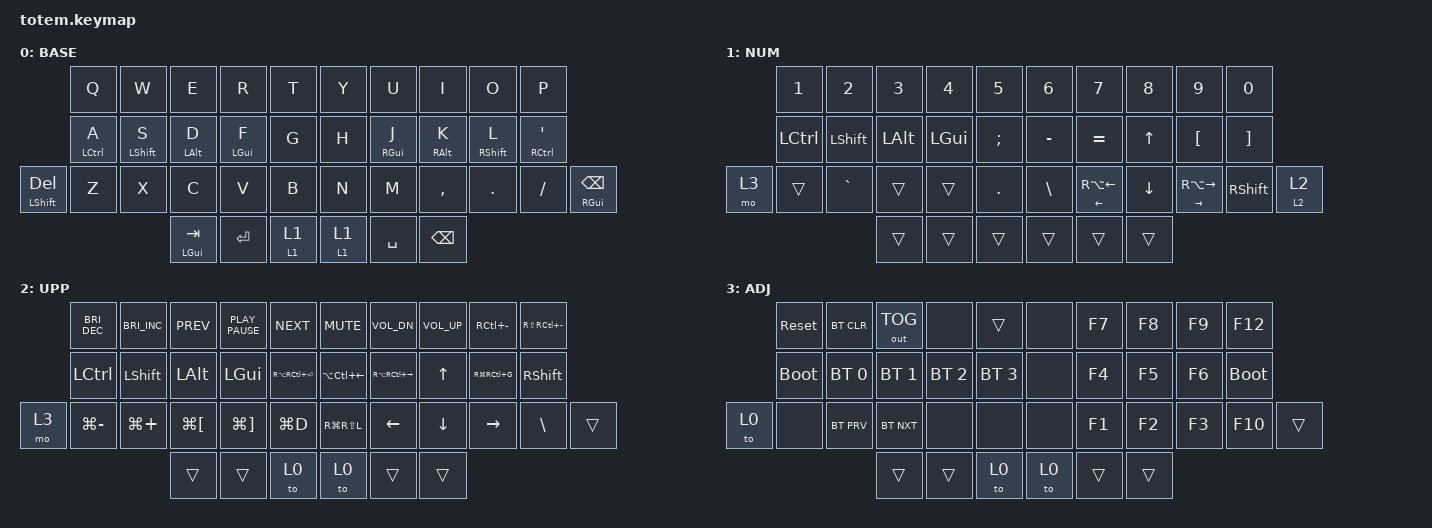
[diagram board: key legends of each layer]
//
//                                                        ▀▀▀▀▀     ▀▀▀▀▀          ▀▀█▀▀
//                                                        ▄▀▀▀▄  ▄  ▄▀▀▀▄  ▄  ▄▀▀▀▄  █  ▄▀▀▀▄
//                                                        █   █  █  █   █  █  █   █  █  █   █
//                                                         ▀▀▀   █   ▀▀▀   █   ▀▀▀   ▀   ▀▀▀
//                                                               █      ▄▄▄█▄▄▄    █   █  
//                                                               ▀      █  █  █     █▄█
//                                                             ▀▀▀▀▀    █  █  █      ▀
//                                                                      ▀  ▀  ▀
//
// ▄▄▄▄▄▄▄▄▄▄▄▄▄▄▄▄▄▄▄▄▄▄▄▄▄▄▄▄▄▄▄▄▄▄▄▄▄▄▄▄▄▄▄▄▄▄▄▄▄▄▄▄▄▄▄▄▄▄▄▄▄▄▄▄▄▄▄▄▄▄▄▄▄▄▄▄▄▄▄▄▄▄▄▄▄▄▄▄▄▄▄▄▄▄▄▄▄▄▄▄▄▄▄▄▄▄▄▄▄▄▄▄▄▄▄▄▄▄▄▄▄▄▄▄▄▄▄▄▄▄▄▄▄▄▄▄▄▄▄▄▄▄▄▄▄▄▄▄▄

#include <behaviors.dtsi>
#include <dt-bindings/zmk/bt.h>
#include <dt-bindings/zmk/keys.h>
#include <dt-bindings/zmk/outputs.h>

#define BASE 0
#define NAV  1
#define SYM  2
#define ADJ  3
#define TVP1 4
#define TVP2 5

&mt {
    quick-tap-ms = <100>;
    global-quick-tap;
    flavor = "tap-preferred";
    tapping-term-ms = <170>;
};

/ {
    combos {
        compatible = "zmk,combos";

        right_esc {
            timeout-ms = <50>;
            key-positions = <0 1>;
            bindings = <&kp ESC>;
        };

        combo_base {
            timeout-ms = <100>;
            key-positions = <22 23 24>;
            bindings = <&to 0>;
            layers = <1 2 3>;
        };

        spotlight_left {
            bindings = <&kp LG(SPACE)>;
            key-positions = <1 2 3>;
        };

        spotlight_right {
            bindings = <&kp LG(SPACE)>;
            key-positions = <6 7 8>;
        };

        copy {
            bindings = <&kp LG(C)>;
            key-positions = <23 24 33>;
        };

        paste {
            bindings = <&kp LG(V)>;
            key-positions = <25 24>;
        };

        lock_screen {
            bindings = <&kp LC(LG(Q))>;
            key-positions = <3 4 5 6>;
        };

        undo {
            bindings = <&kp LG(Z)>;
            key-positions = <21 22>;
        };

        redo {
            bindings = <&kp LG(Y)>;
            key-positions = <22 23>;
        };

        left_esc {
            bindings = <&kp ESC>;
            key-positions = <8 9>;
            timeout-ms = <50>;
        };
    };

    macros {
        gif: gif {
            label = "giphy";
            compatible = "zmk,behavior-macro";
            #binding-cells = <0>;
            bindings =
                <&macro_press>,
                <&kp LSHFT>,
                <&macro_tap>,
                <&kp N2>,
                <&macro_release>,
                <&kp LSHFT>,
                <&macro_tap>,
                <&kp G &kp I &kp F>;
        };
    };

    behaviors {
        hm_l: homerow_mods_left {
            compatible = "zmk,behavior-hold-tap";
            label = "HOMEROW_MODS_L";
            bindings = <&kp>, <&kp>;

            #binding-cells = <2>;
            tapping-term-ms = <280>;
            quick-tap-ms = <175>;
            flavor = "balanced";
            require-prior-idle-ms = <150>;
            hold-trigger-on-release;
            hold-trigger-key-positions = <5 6 7 8 9 15 16 17 18 19 26 27 28 29 30 31 36 37 35 34 33 32 20>;
        };

        hm_r: homerow_mods_right {
            compatible = "zmk,behavior-hold-tap";
            label = "HOMEROW_MODS_R";
            bindings = <&kp>, <&kp>;

            #binding-cells = <2>;
            tapping-term-ms = <280>;
            quick-tap-ms = <175>;
            flavor = "balanced";
            require-prior-idle-ms = <150>;
            hold-trigger-on-release;
            hold-trigger-key-positions = <0 1 3 4 10 11 12 13 14 20 21 22 23 24 25 32 33 34 2 35 36 37 31>;
        };

        hl_l: homerow_layers_left {
            compatible = "zmk,behavior-hold-tap";
            label = "HOMEROW_LAYERS_L";
            bindings = <&mo>, <&kp>;

            #binding-cells = <2>;
            tapping-term-ms = <220>;
            quick-tap-ms = <250>;
            flavor = "tap-preferred";
        };

        hl_r: homerow_layers_right {
            compatible = "zmk,behavior-hold-tap";
            label = "HOMEROW_LAYERS_R";
            bindings = <&mo>, <&kp>;

            #binding-cells = <2>;
            tapping-term-ms = <220>;
            quick-tap-ms = <250>;
            flavor = "tap-preferred";
        };

        td_num: tapdance_num {
            compatible = "zmk,behavior-tap-dance";
            label = "TAPDANCE_NUM";
            #binding-cells = <0>;
            bindings = <&mo 1>, <&tog 1>;
        };

        td_nav: tapdance_nav {
            compatible = "zmk,behavior-tap-dance";
            label = "TAPDANCE_NAV";
            #binding-cells = <0>;
            bindings = <&mo 2>, <&tog 2>;
        };

        layer_tap_hold: layer_tap_hold {
            compatible = "zmk,behavior-hold-tap";
            label = "LAYER_TAP_HOLD";
            bindings = <&mo>, <&tog>;

            #binding-cells = <2>;
            flavor = "balanced";
            tapping-term-ms = <170>;
            quick-tap-ms = <100>;
        };

        sq_bracket: sq_bracket {
            compatible = "zmk,behavior-mod-morph";
            label = "SQ_BRACKET";
            bindings = <&kp LEFT_BRACKET>, <&kp RIGHT_BRACKET>;

            #binding-cells = <0>;
            mods = <(MOD_LSFT)>;
        };

        cur_bracket: cur_bracket {
            compatible = "zmk,behavior-mod-morph";
            label = "CUR_BRACKET";
            bindings = <&kp LEFT_BRACE>, <&kp RIGHT_BRACE>;

            #binding-cells = <0>;
            mods = <(MOD_LSFT)>;
        };
    };

    keymap {
        compatible = "zmk,keymap";

        // ▄▄▄▄▄▄▄▄▄▄▄▄▄▄▄▄▄▄▄▄▄▄▄▄▄▄▄▄▄▄▄▄▄▄▄▄▄▄▄▄▄▄▄▄▄▄▄▄▄▄▄▄▄▄▄▄▄▄▄▄▄▄▄▄▄▄▄▄▄▄▄▄▄▄▄▄▄▄▄▄▄▄▄▄▄▄▄▄▄▄▄▄▄▄▄▄▄▄▄▄▄▄▄▄▄▄▄▄▄▄▄▄▄▄▄▄▄▄▄▄▄▄▄▄▄▄▄▄▄▄▄▄▄▄▄▄▄▄▄▄▄▄▄▄▄▄▄▄▄

        base_layer {
            // ┏━━━━━━━━━━━━━━━━━━━━━━━━━━━━━━━━━━━━━━━┓

            label = "BASE";

            // ┗━━━━━━━━━━━━━━━━━━━━━━━━━━━━━━━━━━━━━━━┛
            //             ┏━━━━━━━━━━━┳━━━━━━━━━━━┳━━━━━━━━━━━┳━━━━━━━━━━━┳━━━━━━━━━━━┓   ┏━━━━━━━━━━━┳━━━━━━━━━━━┳━━━━━━━━━━━┳━━━━━━━━━━━┳━━━━━━━━━━━┓
            //             ┃     Q     ┃     W     ┃     F     ┃     P     ┃     G     ┃   ┃     J     ┃     L     ┃     U     ┃     Y     ┃     ;     ┃
            //             ┣━━━━━━━━━━━╋━━━━━━━━━━━╋━━━━━━━━━━━╋━━━━━━━━━━━╋━━━━━━━━━━━┫   ┣━━━━━━━━━━━╋━━━━━━━━━━━╋━━━━━━━━━━━╋━━━━━━━━━━━╋━━━━━━━━━━━┫
            //             ┃     A     ┃     R     ┃     S     ┃     T     ┃     D     ┃   ┃     H     ┃     N     ┃     E     ┃     I     ┃     O     ┃
            // ┏━━━━━━━━━━━╋━━━━━━━━━━━╋━━━━━━━━━━━╋━━━━━━━━━━━╋━━━━━━━━━━━╋━━━━━━━━━━━┫   ┣━━━━━━━━━━━╋━━━━━━━━━━━╋━━━━━━━━━━━╋━━━━━━━━━━━╋━━━━━━━━━━━╋━━━━━━━━━━━┓
            // ┃     Q     ┃     Z     ┃     X     ┃     C     ┃     V     ┃     B     ┃   ┃     K     ┃     M     ┃     ,     ┃     .     ┃     /     ┃     \     ┃
            // ┗━━━━━━━━━━━┻━━━━━━━━━━━┻━━━━━━━━━━━╋━━━━━━━━━━━╋━━━━━━━━━━━╋━━━━━━━━━━━┫   ┣━━━━━━━━━━━╋━━━━━━━━━━━╋━━━━━━━━━━━╋━━━━━━━━━━━┻━━━━━━━━━━━┻━━━━━━━━━━━┛
            //                                     ┃    DEL    ┃    TAB    ┃    SPC    ┃   ┃   ENTER   ┃           ┃   BSPC    ┃
            //                                     ┗━━━━━━━━━━━┻━━━━━━━━━━━┻━━━━━━━━━━━┛   ┗━━━━━━━━━━━┻━━━━━━━━━━━┻━━━━━━━━━━━┛

            bindings = <
                       &kp Q                 &kp W               &kp E             &kp R             &kp T                  &kp Y                &kp U              &kp I              &kp O                &kp P
                       &hm_l LEFT_CONTROL A  &hm_l LEFT_SHIFT S  &hm_l LEFT_ALT D  &hm_l LEFT_GUI F  &kp G                  &kp H                &hm_r RIGHT_GUI J  &hm_r RIGHT_ALT K  &hm_r RIGHT_SHIFT L  &hm_r RCTRL SQT
&mt LEFT_SHIFT DELETE  &kp Z                 &kp X               &kp C             &kp V             &kp B                  &kp N                &kp M              &kp COMMA          &kp DOT              &kp FSLH         &mt RIGHT_GUI BACKSPACE
                                                                 &mt LEFT_GUI TAB  &kp ENTER         &layer_tap_hold 1 1    &layer_tap_hold 1 1  &kp SPACE          &kp BACKSPACE
            >;
        };

        num_layer {
            // ┏━━━━━━━━━━━━━━━━━━━━━━━━━━━━━━━━━━━━━━━┓

            label = "NUM";

            // ┗━━━━━━━━━━━━━━━━━━━━━━━━━━━━━━━━━━━━━━━┛
            //             ┏━━━━━━━━━━━┳━━━━━━━━━━━┳━━━━━━━━━━━┳━━━━━━━━━━━┳━━━━━━━━━━━┓   ┏━━━━━━━━━━━┳━━━━━━━━━━━┳━━━━━━━━━━━┳━━━━━━━━━━━┳━━━━━━━━━━━┓
            //             ┃           ┃           ┃     UP    ┃           ┃     {     ┃   ┃     }     ┃     7     ┃     8     ┃     9     ┃     +     ┃
            //             ┣━━━━━━━━━━━╋━━━━━━━━━━━╋━━━━━━━━━━━╋━━━━━━━━━━━╋━━━━━━━━━━━┫   ┣━━━━━━━━━━━╋━━━━━━━━━━━╋━━━━━━━━━━━╋━━━━━━━━━━━╋━━━━━━━━━━━┫
            //             ┃   SHIFT   ┃   LEFT    ┃    DOWN   ┃   RIGHT   ┃     [     ┃   ┃     ]     ┃     4     ┃     5     ┃     6     ┃     -     ┃
            // ┏━━━━━━━━━━━╋━━━━━━━━━━━╋━━━━━━━━━━━╋━━━━━━━━━━━╋━━━━━━━━━━━╋━━━━━━━━━━━┫   ┣━━━━━━━━━━━╋━━━━━━━━━━━╋━━━━━━━━━━━╋━━━━━━━━━━━╋━━━━━━━━━━━╋━━━━━━━━━━━┓
            // ┃           ┃           ┃   P UP    ┃  C LOCK   ┃  P DOWN   ┃     (     ┃   ┃     )     ┃     1     ┃     2     ┃     3     ┃     *     ┃           ┃
            // ┗━━━━━━━━━━━┻━━━━━━━━━━━┻━━━━━━━━━━━╋━━━━━━━━━━━╋━━━━━━━━━━━╋━━━━━━━━━━━┫   ┣━━━━━━━━━━━╋━━━━━━━━━━━╋━━━━━━━━━━━╋━━━━━━━━━━━┻━━━━━━━━━━━┻━━━━━━━━━━━┛
            //                                     ┃           ┃    TAB    ┃    SPC    ┃   ┃    DEL    ┃     0     ┃           ┃
            //                                     ┗━━━━━━━━━━━┻━━━━━━━━━━━┻━━━━━━━━━━━┛   ┗━━━━━━━━━━━┻━━━━━━━━━━━┻━━━━━━━━━━━┛

            bindings = <
       &kp NUMBER_1  &kp NUMBER_2    &kp NUMBER_3  &kp NUMBER_4  &kp NUMBER_5     &kp NUMBER_6   &kp N7                         &kp N8          &kp N9                           &kp NUMBER_0
       &kp LCTRL     &kp LEFT_SHIFT  &kp LEFT_ALT  &kp LEFT_GUI  &kp SEMICOLON    &kp MINUS      &kp EQUAL                      &kp UP_ARROW    &kp LEFT_BRACKET                 &kp RIGHT_BRACKET
&mo 3  &trans        &kp GRAVE       &trans        &trans        &kp PERIOD       &kp BACKSLASH  &mt LEFT_ARROW RA(LEFT_ARROW)  &kp DOWN_ARROW  &mt RIGHT_ARROW RA(RIGHT_ARROW)  &kp RIGHT_SHIFT    &layer_tap_hold 2 2
                                     &trans        &trans        &trans           &trans         &trans                         &trans
            >;
        };

        upper_layer {
            // ┏━━━━━━━━━━━━━━━━━━━━━━━━━━━━━━━━━━━━━━━┓

            label = "UPP";

            // ┗━━━━━━━━━━━━━━━━━━━━━━━━━━━━━━━━━━━━━━━┛
            //             ┏━━━━━━━━━━━┳━━━━━━━━━━━┳━━━━━━━━━━━┳━━━━━━━━━━━┳━━━━━━━━━━━┓   ┏━━━━━━━━━━━┳━━━━━━━━━━━┳━━━━━━━━━━━┳━━━━━━━━━━━┳━━━━━━━━━━━┓
            //             ┃     !     ┃     @     ┃     #     ┃     $     ┃     %     ┃   ┃     ˆ     ┃     &     ┃     Ü     ┃     '     ┃     "     ┃
            //             ┣━━━━━━━━━━━╋━━━━━━━━━━━╋━━━━━━━━━━━╋━━━━━━━━━━━╋━━━━━━━━━━━┫   ┣━━━━━━━━━━━╋━━━━━━━━━━━╋━━━━━━━━━━━╋━━━━━━━━━━━╋━━━━━━━━━━━┫
            //             ┃     Ä     ┃           ┃    SZ     ┃           ┃           ┃   ┃   MUTE    ┃   YEN     ┃   EURO    ┃  POUND    ┃     Ö     ┃
            // ┏━━━━━━━━━━━╋━━━━━━━━━━━╋━━━━━━━━━━━╋━━━━━━━━━━━╋━━━━━━━━━━━╋━━━━━━━━━━━┫   ┣━━━━━━━━━━━╋━━━━━━━━━━━╋━━━━━━━━━━━╋━━━━━━━━━━━╋━━━━━━━━━━━╋━━━━━━━━━━━┓
            // ┃           ┃  EMAIL1   ┃  EMAIL2   ┃           ┃           ┃           ┃   ┃   VOL-    ┃   VOL+    ┃   LAST    ┃   NEXT    ┃     \     ┃           ┃
            // ┗━━━━━━━━━━━┻━━━━━━━━━━━┻━━━━━━━━━━━╋━━━━━━━━━━━╋━━━━━━━━━━━╋━━━━━━━━━━━┫   ┣━━━━━━━━━━━╋━━━━━━━━━━━╋━━━━━━━━━━━╋━━━━━━━━━━━┻━━━━━━━━━━━┻━━━━━━━━━━━┛
            //                                     ┃           ┃    GIF    ┃    ADJ    ┃   ┃           ┃           ┃           ┃
            //                                     ┗━━━━━━━━━━━┻━━━━━━━━━━━┻━━━━━━━━━━━┛   ┗━━━━━━━━━━━┻━━━━━━━━━━━┻━━━━━━━━━━━┛

            bindings = <
       &kp C_BRIGHTNESS_DEC  &kp C_BRIGHTNESS_INC  &kp K_PREV            &kp K_PLAY_PAUSE       &kp K_NEXT           &kp K_MUTE        &kp C_VOL_DN             &kp C_VOLUME_UP  &kp RC(MINUS)  &kp RS(RC(MINUS))
       &kp LCTRL             &kp LEFT_SHIFT        &kp LEFT_ALT          &kp LEFT_GUI           &kp RA(RC(ENTER))    &kp LA(LC(LEFT))  &kp RA(RC(RIGHT_ARROW))  &kp UP_ARROW     &kp RG(RC(G))  &kp RIGHT_SHIFT
&mo 3  &kp LG(MINUS)         &kp LG(PLUS)          &kp LG(LEFT_BRACKET)  &kp LG(RIGHT_BRACKET)  &kp LG(D)            &kp RG(RS(L))     &kp LEFT_ARROW           &kp DOWN         &kp RIGHT      &kp BSLH           &trans
                                                   &trans                &trans                 &to 0                &to 0             &trans                   &trans
            >;
        };

        adjust_layer {
            // ┏━━━━━━━━━━━━━━━━━━━━━━━━━━━━━━━━━━━━━━━┓

            label = "ADJ";

            // ┗━━━━━━━━━━━━━━━━━━━━━━━━━━━━━━━━━━━━━━━┛
            //             ┏━━━━━━━━━━━┳━━━━━━━━━━━┳━━━━━━━━━━━┳━━━━━━━━━━━┳━━━━━━━━━━━┓   ┏━━━━━━━━━━━┳━━━━━━━━━━━┳━━━━━━━━━━━┳━━━━━━━━━━━┳━━━━━━━━━━━┓
            //             ┃   RESET   ┃ BT CLEAR  ┃  OUT TOG  ┃           ┃           ┃   ┃           ┃    F7     ┃    F8     ┃    F9     ┃    F12    ┃
            //             ┣━━━━━━━━━━━╋━━━━━━━━━━━╋━━━━━━━━━━━╋━━━━━━━━━━━╋━━━━━━━━━━━┫   ┣━━━━━━━━━━━╋━━━━━━━━━━━╋━━━━━━━━━━━╋━━━━━━━━━━━╋━━━━━━━━━━━┫
            //             ┃ BOOTLOAD  ┃ BT NEXT   ┃           ┃           ┃           ┃   ┃           ┃    F4     ┃    F5     ┃    F6     ┃    F11    ┃
            // ┏━━━━━━━━━━━╋━━━━━━━━━━━╋━━━━━━━━━━━╋━━━━━━━━━━━╋━━━━━━━━━━━╋━━━━━━━━━━━┫   ┣━━━━━━━━━━━╋━━━━━━━━━━━╋━━━━━━━━━━━╋━━━━━━━━━━━╋━━━━━━━━━━━╋━━━━━━━━━━━┓
            // ┃           ┃           ┃ BT PREV   ┃           ┃           ┃           ┃   ┃           ┃    F1     ┃    F2     ┃    F3     ┃    F10    ┃           ┃
            // ┗━━━━━━━━━━━┻━━━━━━━━━━━┻━━━━━━━━━━━╋━━━━━━━━━━━╋━━━━━━━━━━━╋━━━━━━━━━━━┫   ┣━━━━━━━━━━━╋━━━━━━━━━━━╋━━━━━━━━━━━╋━━━━━━━━━━━┻━━━━━━━━━━━┻━━━━━━━━━━━┛
            //                                     ┃           ┃           ┃           ┃   ┃           ┃           ┃           ┃
            //                                     ┗━━━━━━━━━━━┻━━━━━━━━━━━┻━━━━━━━━━━━┛   ┗━━━━━━━━━━━┻━━━━━━━━━━━┻━━━━━━━━━━━┛

            bindings = <
       &sys_reset   &bt BT_CLR    &out OUT_TOG  &none         &trans          &none  &kp F7  &kp F8  &kp F9  &kp F12
       &bootloader  &bt BT_SEL 0  &bt BT_SEL 1  &bt BT_SEL 2  &bt BT_SEL 3    &none  &kp F4  &kp F5  &kp F6  &bootloader
&to 0  &none        &bt BT_PRV    &bt BT_NXT    &none         &none           &none  &kp F1  &kp F2  &kp F3  &kp F10      &trans
                                  &trans        &trans        &to 0           &to 0  &trans  &trans
            >;
        };
    };
};
